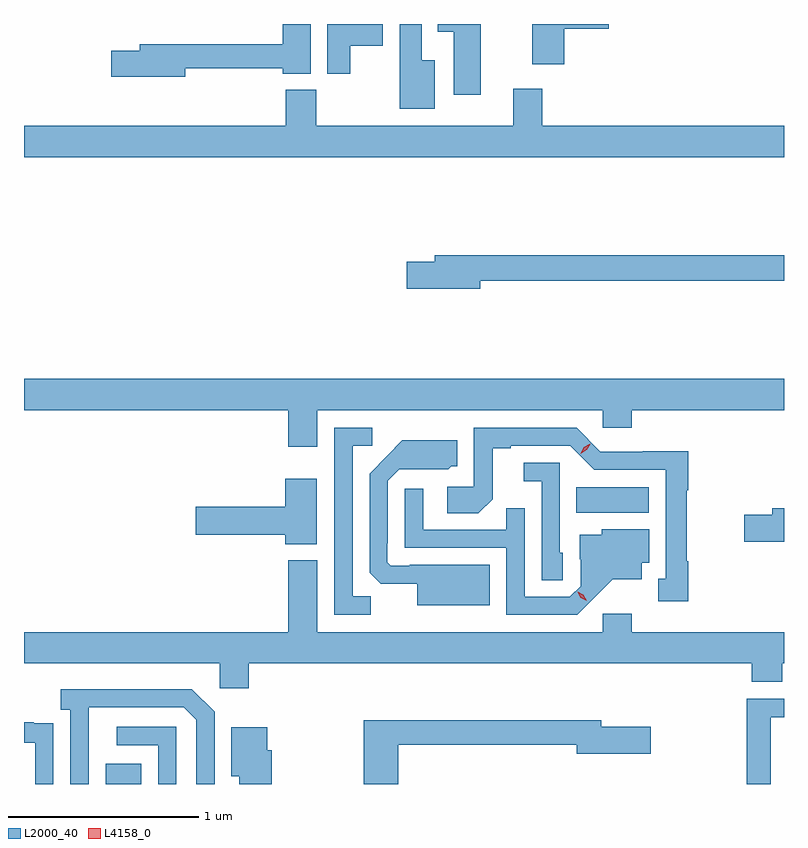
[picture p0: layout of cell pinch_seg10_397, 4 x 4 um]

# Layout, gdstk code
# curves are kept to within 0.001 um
import gdstk
lib = gdstk.Library(unit=1e-6, precision=1e-09)
def R(c, l, rs):  # rectangles x0, y0, x1, y1
    for r in rs: c.add(gdstk.rectangle(r[:2], r[2:], *l))
def P(c, l, *ps):  # polygons
    for p in ps: c.add(gdstk.Polygon(p, *l))
L2000_40 = (2000, 40)
L4158_0 = (4158, 0)

pinch_seg10_397 = lib.new_cell('pinch_seg10_397')
R(pinch_seg10_397, L2000_40, [(370.655,1289.024,370.843,1289.131), (373.132,1290.452,373.513,1290.586)])
P(pinch_seg10_397, L2000_40, [(373.07,1292.999),(373.303,1292.999),(373.303,1293.024),(372.75,1293.024),(372.75,1293.022),(372.902,1293.022),(372.902,1292.811),(373.07,1292.811)],
  [(371.944,1292.909),(372.115,1292.909),(372.115,1293.024),(371.822,1293.024),(371.822,1292.763),(371.944,1292.763)],
  [(372.631,1293.024),(372.404,1293.024),(372.404,1292.984),(372.488,1292.984),(372.488,1292.652),(372.631,1292.652)],
  [(371.074,1292.79),(371.588,1292.79),(371.588,1292.762),(371.734,1292.762),(371.734,1293.024),(371.588,1293.024),(371.588,1292.918),(370.835,1292.918),(370.835,1292.882),(370.686,1292.882),(370.686,1292.747),(371.074,1292.747)],
  [(372.388,1292.833),(372.319,1292.833),(372.319,1293.024),(372.203,1293.024),(372.203,1292.579),(372.388,1292.579)],
  [(374.226,1292.488),(372.953,1292.488),(372.953,1292.683),(372.8,1292.683),(372.8,1292.488),(371.763,1292.488),(371.763,1292.677),(371.603,1292.677),(371.603,1292.488),(370.226,1292.488),(370.226,1292.324),(374.226,1292.324)],
  [(372.628,1291.672),(374.226,1291.672),(374.226,1291.808),(372.389,1291.808),(372.389,1291.772),(372.24,1291.772),(372.24,1291.63),(372.628,1291.63)],
  [(371.77,1290.992),(373.272,1290.992),(373.272,1290.899),(373.424,1290.899),(373.424,1290.992),(374.226,1290.992),(374.226,1291.156),(370.226,1291.156),(370.226,1290.992),(371.618,1290.992),(371.618,1290.798),(371.77,1290.798)],
  [(372.051,1290.011),(371.955,1290.011),(371.955,1290.804),(372.058,1290.804),(372.058,1290.9),(371.859,1290.9),(371.859,1289.916),(372.051,1289.916)],
  [(373.723,1290.197),(373.715,1290.197),(373.715,1290.571),(373.723,1290.571),(373.723,1290.776),(373.482,1290.776),(373.482,1290.774),(373.26,1290.774),(373.134,1290.9),(372.594,1290.9),(372.594,1290.588),(372.453,1290.588),(372.453,1290.448),(372.617,1290.448),(372.693,1290.524),(372.693,1290.792),(372.787,1290.792),(372.787,1290.804),(373.101,1290.804),(373.227,1290.678),(373.604,1290.678),(373.604,1290.105),(373.565,1290.105),(373.565,1289.985),(373.723,1289.985)],
  [(372.676,1290.178),(372.256,1290.178),(372.256,1290.174),(372.156,1290.174),(372.138,1290.192),(372.138,1290.292),(372.141,1290.292),(372.141,1290.621),(372.201,1290.681),(372.458,1290.68),(372.474,1290.696),(372.505,1290.696),(372.505,1290.832),(372.217,1290.832),(372.045,1290.658),(372.045,1290.136),(372.104,1290.077),(372.296,1290.077),(372.296,1289.966),(372.676,1289.966)],
  [(373.062,1290.24),(373.047,1290.24),(373.047,1290.714),(372.855,1290.714),(372.855,1290.617),(372.951,1290.617),(372.951,1290.097),(373.062,1290.097)],
  [(371.767,1290.631),(371.6,1290.631),(371.6,1290.482),(371.13,1290.482),(371.13,1290.335),(371.6,1290.335),(371.6,1290.287),(371.767,1290.287)],
  [(373.222,1289.999),(373.325,1290.101),(373.477,1290.101),(373.477,1290.188),(373.516,1290.188),(373.516,1290.364),(373.266,1290.364),(373.266,1290.337),(373.151,1290.337),(373.151,1290.208),(373.155,1290.208),(373.155,1290.066),(373.098,1290.009),(372.861,1290.009),(372.861,1290.476),(372.763,1290.476),(372.763,1290.363),(372.327,1290.363),(372.327,1290.577),(372.231,1290.577),(372.231,1290.267),(372.765,1290.267),(372.765,1289.916),(373.138,1289.916)],
  [(374.226,1290.476),(374.165,1290.476),(374.165,1290.44),(374.016,1290.44),(374.016,1290.298),(374.226,1290.298)],
  [(371.408,1289.66),(374.057,1289.66),(374.057,1289.561),(374.217,1289.561),(374.217,1289.66),(374.226,1289.66),(374.226,1289.824),(373.424,1289.824),(373.424,1289.92),(373.272,1289.92),(373.272,1289.824),(371.77,1289.824),(371.77,1290.202),(371.618,1290.202),(371.618,1289.824),(370.226,1289.824),(370.226,1289.66),(371.256,1289.66),(371.256,1289.529),(371.408,1289.529)],
  [(370.566,1289.227),(370.567,1289.427),(371.067,1289.427),(371.133,1289.361),(371.133,1289.024),(371.229,1289.024),(371.229,1289.403),(371.108,1289.524),(370.419,1289.524),(370.419,1289.414),(370.47,1289.414),(370.47,1289.024),(370.566,1289.024)],
  [(374.155,1289.376),(374.226,1289.376),(374.226,1289.474),(374.03,1289.474),(374.03,1289.024),(374.155,1289.024)],
  [(372.197,1289.23),(373.136,1289.23),(373.136,1289.183),(373.525,1289.183),(373.525,1289.325),(373.264,1289.325),(373.264,1289.359),(372.014,1289.359),(372.014,1289.024),(372.197,1289.024)],
  [(370.38,1289.234),(370.379,1289.234),(370.379,1289.343),(370.277,1289.343),(370.277,1289.35),(370.226,1289.35),(370.226,1289.241),(370.284,1289.241),(370.284,1289.024),(370.38,1289.024)],
  [(371.028,1289.325),(370.713,1289.325),(370.713,1289.229),(370.932,1289.229),(370.932,1289.024),(371.028,1289.024)],
  [(371.531,1289.202),(371.506,1289.202),(371.506,1289.323),(371.318,1289.323),(371.318,1289.066),(371.36,1289.066),(371.36,1289.024),(371.531,1289.024)])
P(pinch_seg10_397, L4158_0, [(373.155,1290.763),(373.155,1290.764),(373.173,1290.796),(373.205,1290.814),(373.206,1290.814),(373.206,1290.813),(373.187,1290.782),(373.156,1290.763)],
  [(373.187,1289.988),(373.156,1290.004),(373.14,1290.034),(373.14,1290.035),(373.14,1290.035),(373.17,1290.019),(373.187,1289.988),(373.187,1289.988)])

lib.write_gds('pinch_seg10_397.gds')
